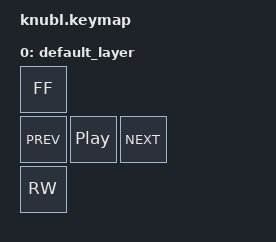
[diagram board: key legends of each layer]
#include <dt-bindings/zmk/keys.h>
#include <behaviors.dtsi>
/ {
  keymap {
    compatible = "zmk,keymap";
    
    default_layer {
      //            FAST FWD
      //PREVIOUS   PAUSE/PLAY    NEXT
      //             REWIND

      bindings = <
                &kp C_FF
        &kp C_PREV &kp C_PP &kp C_NEXT
                &kp C_RW
      >;
    };

    combos {
      compatible = "zmk,combos";
      combo_toggle { // The Alps encoder fires all buttons when center push is activated
        timeout-ms = <50>;
        key-positions = <0 1 2 3 4>;
        bindings = <&kp C_PP>;
      };
    };

    sensor-bindings = <&inc_dec_kp C_VOL_UP C_VOL_DN>;
  };
};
